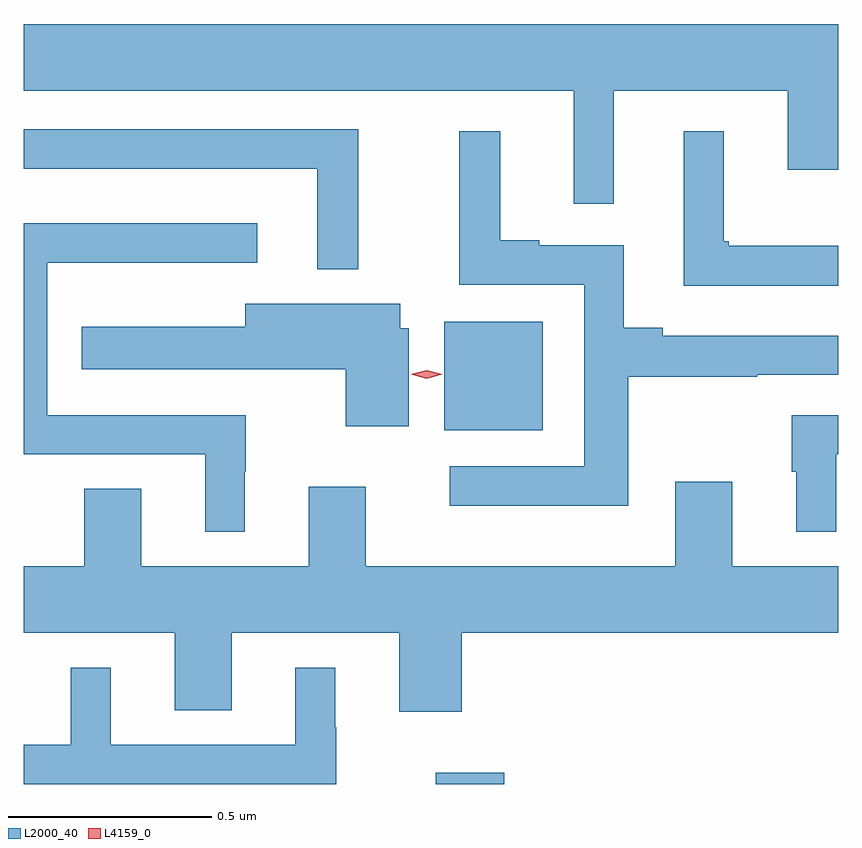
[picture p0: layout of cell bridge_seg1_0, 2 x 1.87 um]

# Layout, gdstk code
import gdstk
lib = gdstk.Library(unit=1e-6, precision=1e-09)
def R(c, l, rs):  # rectangles x0, y0, x1, y1
    for r in rs: c.add(gdstk.rectangle(r[:2], r[2:], *l))
def P(c, l, *ps):  # polygons
    for p in ps: c.add(gdstk.Polygon(p, *l))
L2000_40 = (2000, 40)
L4159_0 = (4159, 0)

bridge_seg1_0 = lib.new_cell('bridge_seg1_0')
R(bridge_seg1_0, L2000_40, [(887.501,534.045,887.669,534.073), (887.522,534.914,887.764,535.18)])
P(bridge_seg1_0, L2000_40, [(886.489,535.748),(887.84,535.748),(887.84,535.47),(887.938,535.47),(887.938,535.748),(888.365,535.748),(888.365,535.554),(888.489,535.554),(888.489,535.912),(886.489,535.912)],
  [(887.31,535.653),(886.489,535.653),(886.489,535.556),(887.21,535.556),(887.21,535.31),(887.31,535.31)],
  [(888.489,535.367),(888.22,535.367),(888.22,535.378),(888.208,535.378),(888.208,535.648),(888.11,535.648),(888.11,535.269),(888.489,535.269)],
  [(887.974,535.045),(888.29,535.045),(888.29,535.05),(888.489,535.05),(888.489,535.146),(888.058,535.146),(888.058,535.166),(887.962,535.166),(887.962,535.368),(887.755,535.368),(887.755,535.381),(887.659,535.381),(887.659,535.648),(887.558,535.648),(887.558,535.272),(887.865,535.272),(887.865,534.825),(887.535,534.825),(887.535,534.728),(887.974,534.728)],
  [(887.032,534.812),(887.034,534.812),(887.034,534.951),(886.546,534.951),(886.546,535.325),(887.062,535.325),(887.062,535.423),(886.489,535.423),(886.489,534.855),(886.934,534.855),(886.934,534.665),(887.032,534.665)],
  [(887.434,535.164),(887.413,535.164),(887.413,535.225),(887.033,535.225),(887.033,535.168),(886.631,535.168),(886.631,535.064),(887.279,535.064),(887.279,534.924),(887.434,534.924)],
  [(888.484,534.855),(888.489,534.855),(888.489,534.951),(888.375,534.951),(888.375,534.812),(888.386,534.812),(888.386,534.665),(888.484,534.665)],
  [(886.859,534.226),(886.999,534.226),(886.999,534.416),(887.411,534.416),(887.411,534.222),(887.564,534.222),(887.564,534.416),(888.489,534.416),(888.489,534.58),(888.229,534.58),(888.229,534.787),(888.089,534.787),(888.089,534.58),(887.329,534.58),(887.329,534.775),(887.189,534.775),(887.189,534.58),(886.777,534.58),(886.777,534.77),(886.637,534.77),(886.637,534.58),(886.489,534.58),(886.489,534.416),(886.859,534.416)],
  [(887.256,534.185),(887.254,534.185),(887.254,534.331),(887.156,534.331),(887.156,534.141),(886.702,534.141),(886.702,534.331),(886.604,534.331),(886.604,534.141),(886.489,534.141),(886.489,534.045),(887.256,534.045)])
P(bridge_seg1_0, L4159_0, [(887.478,535.041),(887.439,535.051),(887.438,535.051),(887.439,535.051),(887.478,535.061),(887.517,535.052),(887.517,535.051),(887.517,535.051)])

lib.write_gds('bridge_seg1_0.gds')
